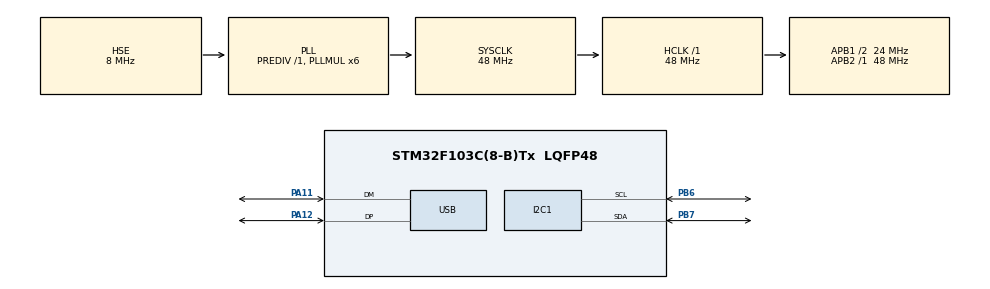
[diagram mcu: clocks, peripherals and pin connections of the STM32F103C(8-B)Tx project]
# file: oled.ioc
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Mcu.Family=STM32F1
Mcu.Name=STM32F103C(8-B)Tx
Mcu.Package=LQFP48
NVIC.PriorityGroup=NVIC_PRIORITYGROUP_4
NVIC.USB_LP_CAN1_RX0_IRQn=true\:0\:0\:false\:false\:true\:false
PA11.Mode=Device
PA11.Signal=USB_DM
PA12.Mode=Device
PA12.Signal=USB_DP
PA13.Mode=Serial_Wire
PA13.Signal=SYS_JTMS-SWDIO
PA14.Mode=Serial_Wire
PA14.Signal=SYS_JTCK-SWCLK
PB6.Mode=I2C
PB6.Signal=I2C1_SCL
PB7.Mode=I2C
PB7.Signal=I2C1_SDA
PD0-OSC_IN.Mode=HSE-External-Oscillator
PD0-OSC_IN.Signal=RCC_OSC_IN
PD1-OSC_OUT.Mode=HSE-External-Oscillator
PD1-OSC_OUT.Signal=RCC_OSC_OUT
ProjectManager.HeapSize=0x200
ProjectManager.StackSize=0x400
ProjectManager.TargetToolchain=TrueSTUDIO
RCC.AHBFreq_Value=48000000
RCC.APB1CLKDivider=RCC_HCLK_DIV2
RCC.APB1Freq_Value=24000000
RCC.APB1TimFreq_Value=48000000
RCC.APB2Freq_Value=48000000
RCC.APB2TimFreq_Value=48000000
RCC.HCLKFreq_Value=48000000
RCC.PLLMUL=RCC_PLL_MUL6
RCC.SYSCLKFreq_VALUE=48000000
RCC.SYSCLKSource=RCC_SYSCLKSOURCE_PLLCLK
RCC.USBFreq_Value=48000000
USB_DEVICE.CLASS_NAME_FS=CDC
USB_DEVICE.VirtualMode=Cdc
USB_DEVICE.VirtualModeFS=Cdc_FS
VP_USB_DEVICE_VS_USB_DEVICE_CDC_FS.Mode=CDC_FS
board=custom

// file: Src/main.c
/**
  ******************************************************************************
  * @file           : main.c
  * @brief          : Main program body
  ******************************************************************************
  * This notice applies to any and all portions of this file
  * that are not between comment pairs USER CODE BEGIN and
  * USER CODE END. Other portions of this file, whether
  * inserted by the user or by software development tools
  * are owned by their respective copyright owners.
  *
  * Copyright (c) 2018 STMicroelectronics International N.V.
  * All rights reserved.
  *
  * Redistribution and use in source and binary forms, with or without
  * modification, are permitted, provided that the following conditions are met:
  *
  * 1. Redistribution of source code must retain the above copyright notice,
  *    this list of conditions and the following disclaimer.
  * 2. Redistributions in binary form must reproduce the above copyright notice,
  *    this list of conditions and the following disclaimer in the documentation
  *    and/or other materials provided with the distribution.
  * 3. Neither the name of STMicroelectronics nor the names of other
  *    contributors to this software may be used to endorse or promote products
  *    derived from this software without specific written permission.
  * 4. This software, including modifications and/or derivative works of this
  *    software, must execute solely and exclusively on microcontroller or
  *    microprocessor devices manufactured by or for STMicroelectronics.
  * 5. Redistribution and use of this software other than as permitted under
  *    this license is void and will automatically terminate your rights under
  *    this license.
  *
  * THIS SOFTWARE IS PROVIDED BY STMICROELECTRONICS AND CONTRIBUTORS "AS IS"
  * AND ANY EXPRESS, IMPLIED OR STATUTORY WARRANTIES, INCLUDING, BUT NOT
  * LIMITED TO, THE IMPLIED WARRANTIES OF MERCHANTABILITY, FITNESS FOR A
  * PARTICULAR PURPOSE AND NON-INFRINGEMENT OF THIRD PARTY INTELLECTUAL PROPERTY
  * RIGHTS ARE DISCLAIMED TO THE FULLEST EXTENT PERMITTED BY LAW. IN NO EVENT
  * SHALL STMICROELECTRONICS OR CONTRIBUTORS BE LIABLE FOR ANY DIRECT, INDIRECT,
  * INCIDENTAL, SPECIAL, EXEMPLARY, OR CONSEQUENTIAL DAMAGES (INCLUDING, BUT NOT
  * LIMITED TO, PROCUREMENT OF SUBSTITUTE GOODS OR SERVICES; LOSS OF USE, DATA,
  * OR PROFITS; OR BUSINESS INTERRUPTION) HOWEVER CAUSED AND ON ANY THEORY OF
  * LIABILITY, WHETHER IN CONTRACT, STRICT LIABILITY, OR TORT (INCLUDING
  * NEGLIGENCE OR OTHERWISE) ARISING IN ANY WAY OUT OF THE USE OF THIS SOFTWARE,
  * EVEN IF ADVISED OF THE POSSIBILITY OF SUCH DAMAGE.
  *
  ******************************************************************************
  */
#include "main.h"
#include "stm32f1xx_hal.h"
#include "usb_device.h"

I2C_HandleTypeDef hi2c1;

/* USER CODE BEGIN PV */
/* Private variables ---------------------------------------------------------*/
#define OLED_adress 0x78
#define OLED_SETCONTRAST 0x81
#define OLED_DISPLAYALLON_RESUME 0xA4
#define OLED_DISPLAYALLON 0xA5
#define OLED_NORMALDISPLAY 0xA6
#define OLED_INVERTDISPLAY 0xA7
#define OLED_DISPLAYOFF 0xAE
#define OLED_DISPLAYON 0xAF
#define OLED_SETDISPLAYOFFSET 0xD3
#define OLED_SETCOMPINS 0xDA
#define OLED_SETVCOMDETECT 0xDB
#define OLED_SETDISPLAYCLOCKDIV 0xD5
#define OLED_SETPRECHARGE 0xD9
#define OLED_SETMULTIPLEX 0xA8
#define OLED_SETLOWCOLUMN 0x00
#define OLED_SETHIGHCOLUMN 0x10
#define OLED_SETSTARTLINE 0x40
#define OLED_MEMORYMODE 0x20
#define OLED_COLUMNADDR 0x21
#define OLED_PAGEADDR   0x22
#define OLED_COMSCANINC 0xC0
#define OLED_COMSCANDEC 0xC8
#define OLED_SEGREMAP 0xA0
#define OLED_CHARGEPUMP 0x8D
#define OLED_SWITCHCAPVCC 0x2
#define OLED_NOP 0xE3

#define OLED_WIDTH 128
#define OLED_HEIGHT 64
#define OLED_BUFFERSIZE (OLED_WIDTH*OLED_HEIGHT)/8
#define OLED_DEFAULT_SPACE 5

#define COMAND 0x00
#define DATA   0x40
uint16_t gg;
uint8_t temp[2] = {0,0};
uint8_t temp_char[7] = {0,0,0,0,0,0,0};
unsigned char LCD_X,LCD_Y;
unsigned char LCD_Buffer[0x0500] =
{
	0x00, 0x00, 0x00, 0x00, 0x00,// 00
	0x00, 0x00, 0x5F, 0x00, 0x00,// 01
	0x00, 0x07, 0x00, 0x07, 0x00,// 02
	0x14, 0x7F, 0x14, 0x7F, 0x14,// 03
	0x24, 0x2A, 0x7F, 0x2A, 0x12,// 04
	0x23, 0x13, 0x08, 0x64, 0x62,// 05
	0x36, 0x49, 0x55, 0x22, 0x50,// 06
	0x00, 0x05, 0x03, 0x00, 0x00,// 07
	0x00, 0x1C, 0x22, 0x41, 0x00,// 08
	0x00, 0x41, 0x22, 0x1C, 0x00,// 09
	0x14, 0x08, 0x3E, 0x08, 0x14,// 0A
	0x08, 0x08, 0x3E, 0x08, 0x08,// 0B
	0x00, 0x50, 0x30, 0x00, 0x00,// 0C
	0x08, 0x08, 0x08, 0x08, 0x08,// 0D
	0x00, 0x60, 0x60, 0x00, 0x00,// 0E
	0x20, 0x10, 0x08, 0x04, 0x02,// 0F
	0x00, 0x00, 0x00, 0x00, 0x00,// 10
	0x00, 0x00, 0x5F, 0x00, 0x00,// 11
	0x00, 0x07, 0x00, 0x07, 0x00,// 12
	0x14, 0x7F, 0x14, 0x7F, 0x14,// 13
	0x24, 0x2A, 0x7F, 0x2A, 0x12,// 14
	0x23, 0x13, 0x08, 0x64, 0x62,// 15
	0x36, 0x49, 0x55, 0x22, 0x50,// 16
	0x00, 0x05, 0x03, 0x00, 0x00,// 17
	0x00, 0x1C, 0x22, 0x41, 0x00,// 18
	0x00, 0x41, 0x22, 0x1C, 0x00,// 19
	0x14, 0x08, 0x3E, 0x08, 0x14,// 1A
	0x08, 0x08, 0x3E, 0x08, 0x08,// 1B
	0x00, 0x50, 0x30, 0x00, 0x00,// 1C
	0x08, 0x08, 0x08, 0x08, 0x08,// 1D
	0x00, 0x60, 0x60, 0x00, 0x00,// 1E
	0x20, 0x10, 0x08, 0x04, 0x02,// 1F
	0x00, 0x00, 0x00, 0x00, 0x00,// 20 space
	0x00, 0x00, 0x5F, 0x00, 0x00,// 21 !
	0x00, 0x07, 0x00, 0x07, 0x00,// 22 "
	0x14, 0x7F, 0x14, 0x7F, 0x14,// 23 #
	0x24, 0x2A, 0x7F, 0x2A, 0x12,// 24 $
	0x23, 0x13, 0x08, 0x64, 0x62,// 25 %
	0x36, 0x49, 0x55, 0x22, 0x50,// 26 &
	0x00, 0x05, 0x03, 0x00, 0x00,// 27 '
	0x00, 0x1C, 0x22, 0x41, 0x00,// 28 (
	0x00, 0x41, 0x22, 0x1C, 0x00,// 29 )
	0x14, 0x08, 0x3E, 0x08, 0x14,// 2a *
	0x08, 0x08, 0x3E, 0x08, 0x08,// 2b +
	0x00, 0x50, 0x30, 0x00, 0x00,// 2c ,
	0x08, 0x08, 0x08, 0x08, 0x08,// 2d -
	0x00, 0x60, 0x60, 0x00, 0x00,// 2e .
	0x20, 0x10, 0x08, 0x04, 0x02,// 2f /
	0x3E, 0x51, 0x49, 0x45, 0x3E,// 30 0
	0x00, 0x42, 0x7F, 0x40, 0x00,// 31 1
	0x42, 0x61, 0x51, 0x49, 0x46,// 32 2
	0x21, 0x41, 0x45, 0x4B, 0x31,// 33 3
	0x18, 0x14, 0x12, 0x7F, 0x10,// 34 4
	0x27, 0x45, 0x45, 0x45, 0x39,// 35 5
	0x3C, 0x4A, 0x49, 0x49, 0x30,// 36 6
	0x01, 0x71, 0x09, 0x05, 0x03,// 37 7
	0x36, 0x49, 0x49, 0x49, 0x36,// 38 8
	0x06, 0x49, 0x49, 0x29, 0x1E,// 39 9
	0x00, 0x36, 0x36, 0x00, 0x00,// 3a :
	0x00, 0x56, 0x36, 0x00, 0x00,// 3b ;
	0x08, 0x14, 0x22, 0x41, 0x00,// 3c <
	0x14, 0x14, 0x14, 0x14, 0x14,// 3d =
	0x00, 0x41, 0x22, 0x14, 0x08,// 3e >
	0x02, 0x01, 0x51, 0x09, 0x06,// 3f ?
	0x32, 0x49, 0x79, 0x41, 0x3E,// 40 @
	0x7E, 0x11, 0x11, 0x11, 0x7E,// 41 A
	0x7F, 0x49, 0x49, 0x49, 0x36,// 42 B
	0x3E, 0x41, 0x41, 0x41, 0x22,// 43 C
	0x7F, 0x41, 0x41, 0x22, 0x1C,// 44 D
	0x7F, 0x49, 0x49, 0x49, 0x41,// 45 E
	0x7F, 0x09, 0x09, 0x09, 0x01,// 46 F
	0x3E, 0x41, 0x49, 0x49, 0x7A,// 47 G
	0x7F, 0x08, 0x08, 0x08, 0x7F,// 48 H
	0x00, 0x41, 0x7F, 0x41, 0x00,// 49 I
	0x20, 0x40, 0x41, 0x3F, 0x01,// 4a J
	0x7F, 0x08, 0x14, 0x22, 0x41,// 4b K
	0x7F, 0x40, 0x40, 0x40, 0x40,// 4c L
	0x7F, 0x02, 0x0C, 0x02, 0x7F,// 4d M
	0x7F, 0x04, 0x08, 0x10, 0x7F,// 4e N
	0x3E, 0x41, 0x41, 0x41, 0x3E,// 4f O
	0x7F, 0x09, 0x09, 0x09, 0x06,// 50 P
	0x3E, 0x41, 0x51, 0x21, 0x5E,// 51 Q
	0x7F, 0x09, 0x19, 0x29, 0x46,// 52 R
	0x46, 0x49, 0x49, 0x49, 0x31,// 53 S
	0x01, 0x01, 0x7F, 0x01, 0x01,// 54 T
	0x3F, 0x40, 0x40, 0x40, 0x3F,// 55 U
	0x1F, 0x20, 0x40, 0x20, 0x1F,// 56 V
	0x3F, 0x40, 0x38, 0x40, 0x3F,// 57 W
	0x63, 0x14, 0x08, 0x14, 0x63,// 58 X
	0x07, 0x08, 0x70, 0x08, 0x07,// 59 Y
	0x61, 0x51, 0x49, 0x45, 0x43,// 5a Z
	0x00, 0x7F, 0x41, 0x41, 0x00,// 5b [
	0x02, 0x04, 0x08, 0x10, 0x20,// 5c Yen Currency Sign
	0x00, 0x41, 0x41, 0x7F, 0x00,// 5d ]
	0x04, 0x02, 0x01, 0x02, 0x04,// 5e ^
	0x40, 0x40, 0x40, 0x40, 0x40,// 5f _
	0x00, 0x01, 0x02, 0x04, 0x00,// 60 `
	0x20, 0x54, 0x54, 0x54, 0x78,// 61 a
	0x7F, 0x48, 0x44, 0x44, 0x38,// 62 b
	0x38, 0x44, 0x44, 0x44, 0x20,// 63 c
	0x38, 0x44, 0x44, 0x48, 0x7F,// 64 d
	0x38, 0x54, 0x54, 0x54, 0x18,// 65 e
	0x08, 0x7E, 0x09, 0x01, 0x02,// 66 f
	0x0C, 0x52, 0x52, 0x52, 0x3E,// 67 g
	0x7F, 0x08, 0x04, 0x04, 0x78,// 68 h
	0x00, 0x44, 0x7D, 0x40, 0x00,// 69 i
	0x20, 0x40, 0x44, 0x3D, 0x00,// 6a j
	0x7F, 0x10, 0x28, 0x44, 0x00,// 6b k
	0x00, 0x41, 0x7F, 0x40, 0x00,// 6c l
	0x7C, 0x04, 0x18, 0x04, 0x78,// 6d m
	0x7C, 0x08, 0x04, 0x04, 0x78,// 6e n
	0x38, 0x44, 0x44, 0x44, 0x38,// 6f o
	0x7C, 0x14, 0x14, 0x14, 0x08,// 70 p
	0x08, 0x14, 0x14, 0x18, 0x7C,// 71 q
	0x7C, 0x08, 0x04, 0x04, 0x08,// 72 r
	0x08, 0x54, 0x54, 0x54, 0x20,// 73 s
	0x04, 0x3F, 0x44, 0x40, 0x20,// 74 t
	0x3C, 0x40, 0x40, 0x20, 0x7C,// 75 u
	0x1C, 0x20, 0x40, 0x20, 0x1C,// 76 v
	0x3C, 0x40, 0x30, 0x40, 0x3C,// 77 w
	0x44, 0x28, 0x10, 0x28, 0x44,// 78 x
	0x0C, 0x50, 0x50, 0x50, 0x3C,// 79 y
	0x44, 0x64, 0x54, 0x4C, 0x44,// 7a z
	0x00, 0x08, 0x36, 0x41, 0x00,// 7b <
	0x00, 0x00, 0x7F, 0x00, 0x00,// 7c |
	0x00, 0x41, 0x36, 0x08, 0x00,// 7d >
	0x10, 0x08, 0x08, 0x10, 0x08,// 7e Right Arrow ->
	0x78, 0x46, 0x41, 0x46, 0x78,// 7f Left Arrow <-
	0x00, 0x00, 0x00, 0x00, 0x00,// 80
	0x00, 0x00, 0x5F, 0x00, 0x00,// 81
	0x00, 0x07, 0x00, 0x07, 0x00,// 82
	0x14, 0x7F, 0x14, 0x7F, 0x14,// 83
	0x24, 0x2A, 0x7F, 0x2A, 0x12,// 84
	0x23, 0x13, 0x08, 0x64, 0x62,// 85
	0x36, 0x49, 0x55, 0x22, 0x50,// 86
	0x00, 0x05, 0x03, 0x00, 0x00,// 87
	0x00, 0x1C, 0x22, 0x41, 0x00,// 88
	0x00, 0x41, 0x22, 0x1C, 0x00,// 89
	0x14, 0x08, 0x3E, 0x08, 0x14,// 8A
	0x08, 0x08, 0x3E, 0x08, 0x08,// 8B
	0x00, 0x50, 0x30, 0x00, 0x00,// 8C
	0x08, 0x08, 0x08, 0x08, 0x08,// 8D
	0x00, 0x60, 0x60, 0x00, 0x00,// 8E
	0x20, 0x10, 0x08, 0x04, 0x02,// 8F
	0x00, 0x00, 0x00, 0x00, 0x00,// 90
	0x00, 0x00, 0x5F, 0x00, 0x00,// 91
	0x00, 0x07, 0x00, 0x07, 0x00,// 92
	0x14, 0x7F, 0x14, 0x7F, 0x14,// 93
	0x24, 0x2A, 0x7F, 0x2A, 0x12,// 94
	0x23, 0x13, 0x08, 0x64, 0x62,// 95
	0x36, 0x49, 0x55, 0x22, 0x50,// 96
	0x00, 0x05, 0x03, 0x00, 0x00,// 97
	0x00, 0x1C, 0x22, 0x41, 0x00,// 98
	0x00, 0x41, 0x22, 0x1C, 0x00,// 99
	0x14, 0x08, 0x3E, 0x08, 0x14,// 9A
	0x08, 0x08, 0x3E, 0x08, 0x08,// 9B
	0x00, 0x50, 0x30, 0x00, 0x00,// 9C
	0x08, 0x08, 0x08, 0x08, 0x08,// 9D
	0x00, 0x60, 0x60, 0x00, 0x00,// 9E
	0x20, 0x10, 0x08, 0x04, 0x02,// 9F
	0x00, 0x00, 0x00, 0x00, 0x00,// A0
	0x00, 0x00, 0x5F, 0x00, 0x00,// A1
	0x00, 0x07, 0x00, 0x07, 0x00,// A2
	0x14, 0x7F, 0x14, 0x7F, 0x14,// A3
	0x24, 0x2A, 0x7F, 0x2A, 0x12,// A4
	0x23, 0x13, 0x08, 0x64, 0x62,// A5
	0x36, 0x49, 0x55, 0x22, 0x50,// A6
	0x00, 0x05, 0x03, 0x00, 0x00,// A7
	0x00, 0x1C, 0x22, 0x41, 0x00,// A8
	0x00, 0x41, 0x22, 0x1C, 0x00,// A9
	0x14, 0x08, 0x3E, 0x08, 0x14,// AA
	0x08, 0x08, 0x3E, 0x08, 0x08,// AB
	0x00, 0x50, 0x30, 0x00, 0x00,// AC
	0x08, 0x08, 0x08, 0x08, 0x08,// AD
	0x00, 0x60, 0x60, 0x00, 0x00,// AE
	0x20, 0x10, 0x08, 0x04, 0x02,// AF
	0x3E, 0x51, 0x49, 0x45, 0x3E,// B0
	0x00, 0x06, 0x09, 0x09, 0x06,
	0x00, 0x42, 0x7F, 0x40, 0x00,// B1
	0x42, 0x61, 0x51, 0x49, 0x46,// B2
	0x21, 0x41, 0x45, 0x4B, 0x31,// B3
	0x18, 0x14, 0x12, 0x7F, 0x10,// B4
	0x27, 0x45, 0x45, 0x45, 0x39,// B5
	0x3C, 0x4A, 0x49, 0x49, 0x30,// B6
	0x01, 0x71, 0x09, 0x05, 0x03,// B7
	0x36, 0x49, 0x49, 0x49, 0x36,// B8
	0x06, 0x49, 0x49, 0x29, 0x1E,// B9
	0x00, 0x36, 0x36, 0x00, 0x00,// BA
	0x00, 0x56, 0x36, 0x00, 0x00,// BB
	0x08, 0x14, 0x22, 0x41, 0x00,// BC
	0x14, 0x14, 0x14, 0x14, 0x14,// BD
	0x00, 0x41, 0x22, 0x14, 0x08,// BE
	0x02, 0x01, 0x51, 0x09, 0x06,// BF
	0x7E, 0x11, 0x11, 0x11, 0x7E,// C0 ?
	0x7F, 0x49, 0x49, 0x49, 0x31,// C1 ?
	0x7F, 0x49, 0x49, 0x49, 0x36,// C2 ?
	0x7F, 0x01, 0x01, 0x01, 0x03,// C3 ?
	0x60, 0x3E, 0x21, 0x21, 0x7F,// C4 ?
	0x7F, 0x49, 0x49, 0x49, 0x41,// C5 ?
	0x77, 0x08, 0x7F, 0x08, 0x77,// C6 ?
	0x22, 0x41, 0x49, 0x49, 0x36,// C7 ?
	0x7F, 0x10, 0x08, 0x04, 0x7F,// C8 ?
	0x7F, 0x10, 0x09, 0x04, 0x7F,// C9 ?
	0x7F, 0x08, 0x14, 0x22, 0x41,// CA ?
	0x40, 0x3E, 0x01, 0x01, 0x7F,// CB ?
	0x7F, 0x02, 0x0C, 0x02, 0x7F,// CC ?
	0x7F, 0x08, 0x08, 0x08, 0x7F,// CD ?
	0x3E, 0x41, 0x41, 0x41, 0x3E,// CE ?
	0x7F, 0x01, 0x01, 0x01, 0x7F,// CF ?
	0x7F, 0x09, 0x09, 0x09, 0x06,// D0 ?
	0x3E, 0x41, 0x41, 0x41, 0x22,// D1 ?
	0x01, 0x01, 0x7F, 0x01, 0x01,// D2 ?
	0x27, 0x48, 0x48, 0x48, 0x3F,// D3 ?
	0x1E, 0x21, 0x7F, 0x21, 0x1E,// D4 ?
	0x63, 0x14, 0x08, 0x14, 0x63,// D5 ?
	0x3F, 0x20, 0x20, 0x3F, 0x60,// D6 ?
	0x07, 0x08, 0x08, 0x08, 0x7F,// D7 ?
	0x7F, 0x40, 0x7F, 0x40, 0x7F,// D8 ?
	0x3F, 0x20, 0x3F, 0x20, 0x7F,// D9 ?
	0x01, 0x7F, 0x48, 0x48, 0x30,// DA ?
	0x7F, 0x48, 0x30, 0x00, 0x7F,// DB ?
	0x00, 0x7F, 0x48, 0x48, 0x30,// DC ?
	0x22, 0x41, 0x49, 0x49, 0x3E,// DD ?
	0x7F, 0x08, 0x3E, 0x41, 0x3E,// DE ?
	0x46, 0x29, 0x19, 0x09, 0x7F,// DF ?
	0x20, 0x54, 0x54, 0x54, 0x78,// E0 ?
	0x3C, 0x4A, 0x4A, 0x4A, 0x30,// E1 ?
	0x7C, 0x54, 0x54, 0x28, 0x00,// E2 ?
	0x7C, 0x04, 0x04, 0x04, 0x04,// E3 ?
	0x60, 0x38, 0x24, 0x24, 0x7C,// E4 ?
	0x38, 0x54, 0x54, 0x54, 0x18,// E5 ?
	0x6C, 0x10, 0x7C, 0x10, 0x6C,// E6 ?
	0x00, 0x44, 0x54, 0x54, 0x28,// E7 ?
	0x7C, 0x20, 0x10, 0x08, 0x7C,// E8 ?
	0x7C, 0x21, 0x12, 0x09, 0x7C,// E9 ?
	0x7C, 0x10, 0x28, 0x44, 0x00,// EA ?
	0x40, 0x38, 0x04, 0x04, 0x7C,// EB ?
	0x7C, 0x08, 0x10, 0x08, 0x7C,// EC ?
	0x7C, 0x10, 0x10, 0x10, 0x7C,// ED ?
	0x38, 0x44, 0x44, 0x44, 0x38,// EE ?
	0x7C, 0x04, 0x04, 0x04, 0x7C,// EF ?
	0x7C, 0x14, 0x14, 0x14, 0x08,// F0 ?
	0x38, 0x44, 0x44, 0x44, 0x00,// F1 ?
	0x04, 0x04, 0x7C, 0x04, 0x04,// F2 ?
	0x0C, 0x50, 0x50, 0x50, 0x3C,// F3 ?
	0x08, 0x14, 0x7C, 0x14, 0x08,// F4 ?
	0x44, 0x28, 0x10, 0x28, 0x44,// F5 ?
	0x3C, 0x20, 0x20, 0x3C, 0x60,// F6 ?
	0x0C, 0x10, 0x10, 0x10, 0x7C,// F7 ?
	0x7C, 0x40, 0x7C, 0x40, 0x7C,// F8 ?
	0x3C, 0x20, 0x3C, 0x20, 0x7C,// F9 ?
	0x04, 0x7C, 0x50, 0x50, 0x20,// FA ?
	0x7C, 0x50, 0x20, 0x00, 0x7C,// FB ?
	0x00, 0x7C, 0x50, 0x50, 0x20,// FC ?
	0x28, 0x44, 0x54, 0x54, 0x38,// FD ?
	0x7C, 0x10, 0x38, 0x44, 0x38,// FE ?
	0x48, 0x54, 0x34, 0x14, 0x7C // FF ?
};
/* USER CODE END PV */

void SystemClock_Config(void);
static void MX_GPIO_Init(void);
static void MX_I2C1_Init(void);

/* USER CODE BEGIN PFP */
/* Private function prototypes -----------------------------------------------*/
void i2c_init(void);// ??????? ????????????? ???? TWI
void OLED_init(void);
//unsigned char OLED_write(unsigned char data);
void sendCommand(unsigned char command);
void LCD_Clear(void);
void LCD_Char(unsigned int c);
void LCD_Goto(unsigned char x, unsigned char y);
void LCD_DrawImage(unsigned char num_image);
void OLED_string(char *string);
void OLED_num_to_str(unsigned int value, unsigned char nDigit);

void sendCommand(uint8_t command_s)
{
	temp[0] = COMAND;
	temp[1] = command_s;
	HAL_I2C_Master_Transmit(&hi2c1,OLED_adress,temp,2,100);
}

void sendData(uint8_t data_s)
{
	temp[0] = DATA;
	temp[1] = data_s;
	HAL_I2C_Master_Transmit(&hi2c1,OLED_adress,temp,2,100);
}

void LCD_Goto(unsigned char x, unsigned char y)
{
	LCD_X = x;
	LCD_Y = y;
	sendCommand(0xB0 + y);
	sendCommand(x & 0xf);
	sendCommand(0x10 | (x >> 4));
}

void LCD_Clear(void)
{
	unsigned short i;
	unsigned short x=0;
	unsigned short y=0;
	LCD_Goto(0,0);

	for (i=0; i<(OLED_BUFFERSIZE); i++) //(SSD1306_LCDWIDTH*SSD1306_LCDHEIGHT/8)
	{
		LCD_Char(' ');
		x ++;
		if(x>OLED_WIDTH)
		{
			x =0;
			y++;
			LCD_Goto(0,y);
		}
	}
	LCD_X =OLED_DEFAULT_SPACE;
	LCD_Y =0;
}

void LCD_Char(unsigned int c)
{
	unsigned char x = 0;
	temp_char[0] = 0x40;
	for (x=0; x<5; x++)
	{
		temp_char[x+1] = LCD_Buffer[c*5+x];
	}
	temp_char[6] = 0;
	HAL_I2C_Master_Transmit(&hi2c1, OLED_adress, temp_char, 7,1000);

	LCD_X += 8;
	if(LCD_X>OLED_WIDTH)
	{
		LCD_X = OLED_DEFAULT_SPACE;
	}
}

void OLED_string(char *string)
{
	while(*string != '\0')
	{
		LCD_Char(*string);
		string++;
	}
}

void OLED_num_to_str(unsigned int value, unsigned char nDigit)
{
	switch(nDigit)
	{
		case 5: LCD_Char(value/10000+48);
		case 4: LCD_Char((value/1000)%10+48);
		case 3: LCD_Char((value/100)%10+48);
		case 2: LCD_Char((value/10)%10+48);
		case 1: LCD_Char(value%10+48);
	}
}

void OLED_init(void)
{
		// Turn display off
		sendCommand(OLED_DISPLAYOFF);

		sendCommand(OLED_SETDISPLAYCLOCKDIV);
		sendCommand(0x80);

		sendCommand(OLED_SETMULTIPLEX);
		//sendCommand(0x1F);//128x32
		sendCommand(0x3F);//128x64

		sendCommand(OLED_SETDISPLAYOFFSET);
		sendCommand(0x00);

		sendCommand(OLED_SETSTARTLINE | 0x00);//0

		// We use internal charge pump
		sendCommand(OLED_CHARGEPUMP);
		sendCommand(0x14);

		// Horizontal memory mode
		sendCommand(OLED_MEMORYMODE);
		sendCommand(0x00);

		sendCommand(OLED_SEGREMAP | 0x1);

		sendCommand(OLED_COMSCANDEC);

		sendCommand(OLED_SETCOMPINS);
		//sendCommand(0x02);//128x32
		sendCommand(0x12);//128x64

		// Max contrast
		sendCommand(OLED_SETCONTRAST);
		//sendCommand(0x0F);//0xCF
		sendCommand(0xCF);//0xCF

		sendCommand(OLED_SETPRECHARGE);
		sendCommand(0xF1);

		sendCommand(OLED_SETVCOMDETECT);
		//sendCommand(0x10);//0x40
		sendCommand(0x40);//0x40

		sendCommand(OLED_DISPLAYALLON_RESUME);

		// Non-inverted display
		sendCommand(OLED_NORMALDISPLAY);

		// Turn display back on
		sendCommand(OLED_DISPLAYON);
}
/* USER CODE END PFP */

int main(void)
{
  /* USER CODE BEGIN 1 */
	char str_tx[21];
  /* USER CODE END 1 */

  /* MCU Configuration----------------------------------------------------------*/

  /* Reset of all peripherals, Initializes the Flash interface and the Systick. */
  HAL_Init();

  /* Configure the system clock */
  SystemClock_Config();

  /* Initialize all configured peripherals */
  MX_GPIO_Init();
  MX_I2C1_Init();
  MX_USB_DEVICE_Init();
  /* USER CODE BEGIN 2 */
  HAL_Delay(100);
  	OLED_init();
  	LCD_Clear();
  	LCD_Goto(0,0);
  	OLED_string("-----------");
  	LCD_Goto(0,1);
  	OLED_string("-----------");
  	LCD_Goto(0,2);
  	OLED_string("-----------");
  	LCD_Goto(0,3);
  	OLED_string("-----------");
  	LCD_Goto(0,4);
  	OLED_string("-----------");
  	sprintf (str_tx,"USB TRANSMIT\r\n");
  /* USER CODE END 2 */

  /* Infinite loop */
  while (1)
  {

  /* USER CODE BEGIN 3 */
	  LCD_Goto(52,5);
	  	OLED_num_to_str(gg++,5);
	  HAL_Delay(100);
	  CDC_Transmit_FS((uint8_t*)str_tx, strlen(str_tx));
	  	  HAL_Delay(100);

  }
  /* USER CODE END 3 */

}

void SystemClock_Config(void)
{

  RCC_OscInitTypeDef RCC_OscInitStruct;
  RCC_ClkInitTypeDef RCC_ClkInitStruct;
  RCC_PeriphCLKInitTypeDef PeriphClkInit;

    /**Initializes the CPU, AHB and APB busses clocks
    */
  RCC_OscInitStruct.OscillatorType = RCC_OSCILLATORTYPE_HSE;
  RCC_OscInitStruct.HSEState = RCC_HSE_ON;
  RCC_OscInitStruct.HSEPredivValue = RCC_HSE_PREDIV_DIV1;
  RCC_OscInitStruct.HSIState = RCC_HSI_ON;
  RCC_OscInitStruct.PLL.PLLState = RCC_PLL_ON;
  RCC_OscInitStruct.PLL.PLLSource = RCC_PLLSOURCE_HSE;
  RCC_OscInitStruct.PLL.PLLMUL = RCC_PLL_MUL6;
  if (HAL_RCC_OscConfig(&RCC_OscInitStruct) != HAL_OK)
  {
    _Error_Handler(__FILE__, __LINE__);
  }

    /**Initializes the CPU, AHB and APB busses clocks
    */
  RCC_ClkInitStruct.ClockType = RCC_CLOCKTYPE_HCLK|RCC_CLOCKTYPE_SYSCLK
                              |RCC_CLOCKTYPE_PCLK1|RCC_CLOCKTYPE_PCLK2;
  RCC_ClkInitStruct.SYSCLKSource = RCC_SYSCLKSOURCE_PLLCLK;
  RCC_ClkInitStruct.AHBCLKDivider = RCC_SYSCLK_DIV1;
  RCC_ClkInitStruct.APB1CLKDivider = RCC_HCLK_DIV2;
  RCC_ClkInitStruct.APB2CLKDivider = RCC_HCLK_DIV1;

  if (HAL_RCC_ClockConfig(&RCC_ClkInitStruct, FLASH_LATENCY_1) != HAL_OK)
  {
    _Error_Handler(__FILE__, __LINE__);
  }

  PeriphClkInit.PeriphClockSelection = RCC_PERIPHCLK_USB;
  PeriphClkInit.UsbClockSelection = RCC_USBCLKSOURCE_PLL;
  if (HAL_RCCEx_PeriphCLKConfig(&PeriphClkInit) != HAL_OK)
  {
    _Error_Handler(__FILE__, __LINE__);
  }

    /**Configure the Systick interrupt time
    */
  HAL_SYSTICK_Config(HAL_RCC_GetHCLKFreq()/1000);

    /**Configure the Systick
    */
  HAL_SYSTICK_CLKSourceConfig(SYSTICK_CLKSOURCE_HCLK);

  /* SysTick_IRQn interrupt configuration */
  HAL_NVIC_SetPriority(SysTick_IRQn, 0, 0);
}

/* I2C1 init function */
static void MX_I2C1_Init(void)
{

  hi2c1.Instance = I2C1;
  hi2c1.Init.ClockSpeed = 100000;
  hi2c1.Init.DutyCycle = I2C_DUTYCYCLE_2;
  hi2c1.Init.OwnAddress1 = 0;
  hi2c1.Init.AddressingMode = I2C_ADDRESSINGMODE_7BIT;
  hi2c1.Init.DualAddressMode = I2C_DUALADDRESS_DISABLE;
  hi2c1.Init.OwnAddress2 = 0;
  hi2c1.Init.GeneralCallMode = I2C_GENERALCALL_DISABLE;
  hi2c1.Init.NoStretchMode = I2C_NOSTRETCH_DISABLE;
  if (HAL_I2C_Init(&hi2c1) != HAL_OK)
  {
    _Error_Handler(__FILE__, __LINE__);
  }

}

/** Configure pins as
        * Analog
        * Input
        * Output
        * EVENT_OUT
        * EXTI
*/
static void MX_GPIO_Init(void)
{

  /* GPIO Ports Clock Enable */
  __HAL_RCC_GPIOD_CLK_ENABLE();
  __HAL_RCC_GPIOA_CLK_ENABLE();
  __HAL_RCC_GPIOB_CLK_ENABLE();

}

void _Error_Handler(char *file, int line)
{
  while(1)
  {
  }
}

/************************ (C) COPYRIGHT STMicroelectronics *****END OF FILE****/
